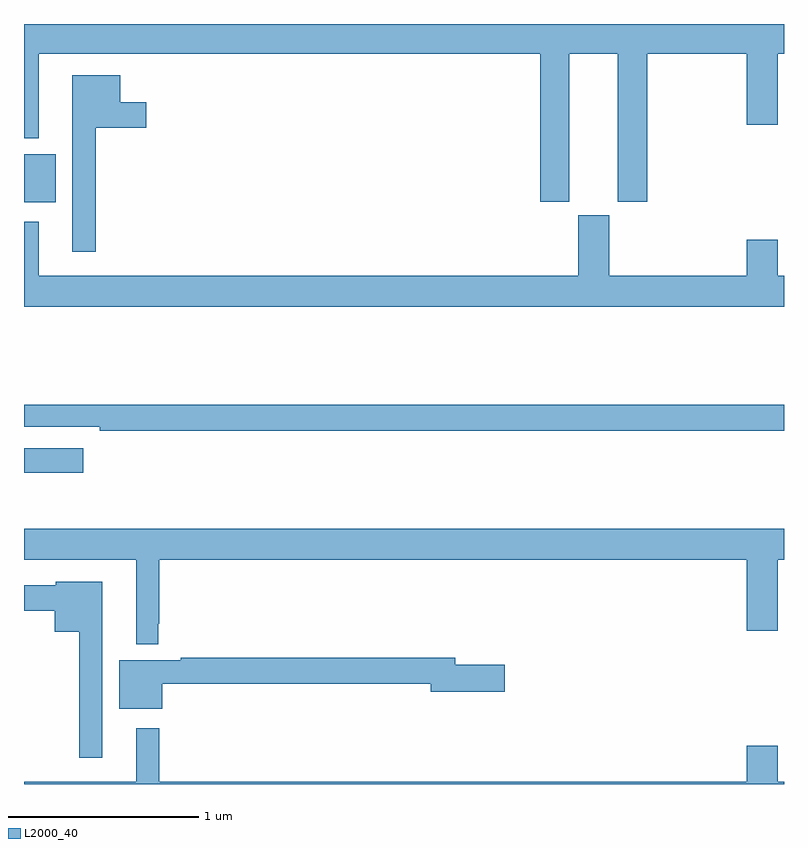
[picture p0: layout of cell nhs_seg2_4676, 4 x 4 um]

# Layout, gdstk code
import gdstk
lib = gdstk.Library(unit=1e-6, precision=1e-09)
def R(c, l, rs):  # rectangles x0, y0, x1, y1
    for r in rs: c.add(gdstk.rectangle(r[:2], r[2:], *l))
def P(c, l, *ps):  # polygons
    for p in ps: c.add(gdstk.Polygon(p, *l))
L2000_40 = (2000, 40)

nhs_seg2_4676 = lib.new_cell('nhs_seg2_4676')
R(nhs_seg2_4676, L2000_40, [(365,637.438,365.311,637.567), (365,638.861,365.167,639.115)])
P(nhs_seg2_4676, L2000_40, [(365,639.2),(365.077,639.2),(365.077,639.644),(367.718,639.644),(367.718,638.865),(367.87,638.865),(367.87,639.644),(368.126,639.644),(368.126,638.865),(368.279,638.865),(368.279,639.644),(368.804,639.644),(368.804,639.27),(368.968,639.27),(368.968,639.644),(369,639.644),(369,639.8),(365,639.8)],
  [(365.377,639.254),(365.644,639.254),(365.644,639.388),(365.506,639.388),(365.506,639.529),(365.255,639.529),(365.255,638.601),(365.377,638.601)],
  [(369,638.476),(368.968,638.476),(368.968,638.665),(368.804,638.665),(368.804,638.476),(368.08,638.476),(368.08,638.793),(367.916,638.793),(367.916,638.476),(365.077,638.476),(365.077,638.758),(365,638.758),(365,638.312),(369,638.312)],
  [(369,637.796),(365,637.796),(365,637.68),(365.398,637.68),(365.398,637.66),(369,637.66)],
  [(365,636.98),(365.591,636.98),(365.591,636.536),(365.706,636.536),(365.706,636.643),(365.713,636.643),(365.713,636.98),(368.804,636.98),(368.804,636.606),(368.968,636.606),(368.968,636.98),(369,636.98),(369,637.144),(365,637.144)],
  [(365.413,636.865),(365.166,636.865),(365.166,636.847),(365,636.847),(365,636.713),(365.162,636.713),(365.162,636.602),(365.292,636.602),(365.292,635.937),(365.413,635.937)],
  [(365.728,636.328),(367.142,636.328),(367.142,636.286),(367.531,636.286),(367.531,636.428),(367.27,636.428),(367.27,636.464),(365.824,636.464),(365.824,636.451),(365.501,636.451),(365.501,636.197),(365.728,636.197)],
  [(369,635.812),(368.968,635.812),(368.968,636.001),(368.804,636.001),(368.804,635.812),(365.713,635.812),(365.713,636.094),(365.591,636.094),(365.591,635.812),(365,635.812),(365,635.8),(369,635.8)])

lib.write_gds('nhs_seg2_4676.gds')
